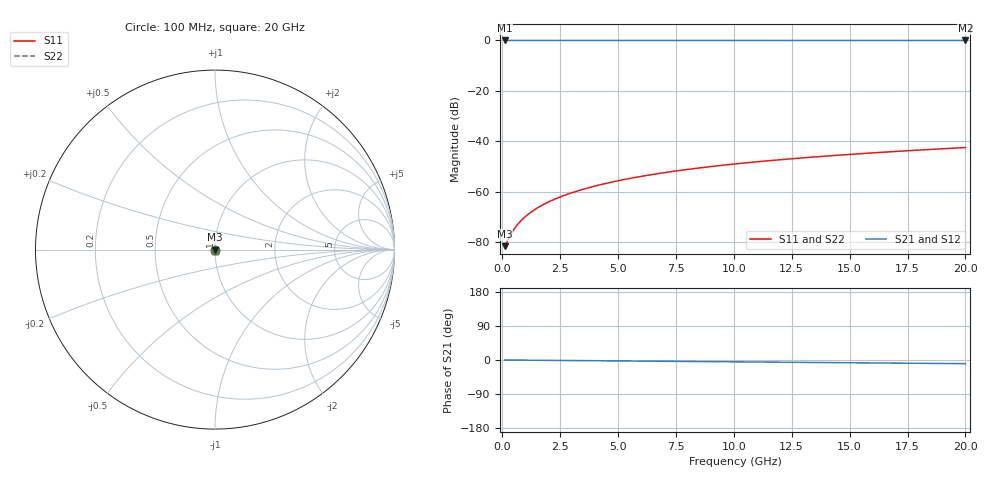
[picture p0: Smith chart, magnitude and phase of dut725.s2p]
! Touchstone file exported from HFSS 2026.1.0
!  File:  C:/ffzhzh/LocalFiles/Ansys_Project_Files/temp_train_TSV_725_1783182408_22436.aedt
!  Generated:  12:28:10 AM Jul  5, 2026
!  Design:  TSV
!  Project:  temp_train_TSV_725_1783182408_22436
! Variables:
!  h_bsmrdl = 2um
!  h_ox = 20um
!  h_rdl = 5um
!  h_sub = 97.27um
!  h_tmrdl = 5um
!  h_tsv = 97.27um
!  h_via = 3um
!  l_bsmrdl = 300um
!  l_sub = 429.92um
!  l_tmrdl = 200um
!  m_sub = 200um
!  pitch = 57.16um
!  r_tsv = 14.96um
!  s_tmrdl = 10um
!  w_bsmrdl = 18um
!  w_sub = 500um
!  w_tmrdl = 12um
!  x_tsv_center1 = 206um
!  x_tsv_center2 = 524um
!  x_tsv_center3 = 736um
!  x_tsv_center4 = 1054um
!  x_tsv_center5 = 1266um
!  x_tsv_center6 = 1584um
# GHz S MA R 50.000000
! Terminal data exported
! Port[1] = TSV1_1_T1
! Port[2] = TSV1_1_T2
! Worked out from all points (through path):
!   200 points, 100 MHz to 20 GHz, reference 50 ohm
!   highest |S21| = 0.00 dB at 100 MHz (marker M1); lowest = 0.0 dB at 20 GHz (marker M2)
!   group delay of S21, straight-line fit = 1.34 ps
!   lowest |S11| = -81.7 dB at 100 MHz (marker M3), VSWR 1.00, Z = 50 + j0.00113 ohm
!   |S11| at or under -10 dB: start of sweep to end of sweep
!   |S22| runs from -81.7 to -42.5 dB; largest |S21 - S12| = 3.2e-15
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0.1  8.24e-05 7.9  0.9999 -0.1  0.9999 -0.1  8.24e-05 7.9
! Gamma 0 0 0 0
! Port Impedance 50 0 50 0
0.2  9.987e-05 10.3  0.9999 -0.1  0.9999 -0.1  9.987e-05 10.3
0.4  0.0001492 2.4  0.9999 -0.2  0.9999 -0.2  0.0001492 2.4
0.5  0.0001765 -3.7  0.9998 -0.3  0.9998 -0.3  0.0001765 -3.7
0.6  0.0002045 -9.9  0.9998 -0.3  0.9998 -0.3  0.0002045 -9.9
0.8  0.0002617 -21.1  0.9998 -0.4  0.9998 -0.4  0.0002617 -21.1
1.1  0.0003492 -34.0  0.9997 -0.5  0.9997 -0.5  0.0003492 -34.0
1.4  0.0004386 -43.0  0.9997 -0.7  0.9997 -0.7  0.0004386 -43.0
1.8  0.0005608 -51.3  0.9996 -0.9  0.9996 -0.9  0.0005608 -51.3
2.3  0.0007178 -58.0  0.9996 -1.1  0.9996 -1.1  0.0007178 -58.0
2.9  0.0009125 -63.2  0.9996 -1.4  0.9996 -1.4  0.0009125 -63.2
3.5  0.001114 -66.8  0.9995 -1.7  0.9995 -1.7  0.001114 -66.8
4.2  0.001355 -69.8  0.9995 -2.1  0.9995 -2.1  0.001355 -69.8
5  0.001639 -72.4  0.9994 -2.4  0.9994 -2.4  0.001639 -72.4
5.9  0.001967 -74.7  0.9994 -2.9  0.9994 -2.9  0.001967 -74.7
6.8  0.002301 -76.6  0.9993 -3.3  0.9993 -3.3  0.002301 -76.6
8.3  0.002866 -79.3  0.9993 -4.0  0.9993 -4.0  0.002866 -79.3
10.1  0.003555 -81.8  0.9992 -4.9  0.9992 -4.9  0.003555 -81.8
11.7  0.004173 -83.8  0.9991 -5.7  0.9991 -5.7  0.004173 -83.8
13.4  0.004836 -85.6  0.9991 -6.5  0.9991 -6.5  0.004836 -85.5
16.7  0.006142 -88.5  0.999 -8.1  0.999 -8.1  0.006143 -88.5
20  0.007481 -91.0  0.9988 -9.7  0.9988 -9.7  0.007481 -91.0
